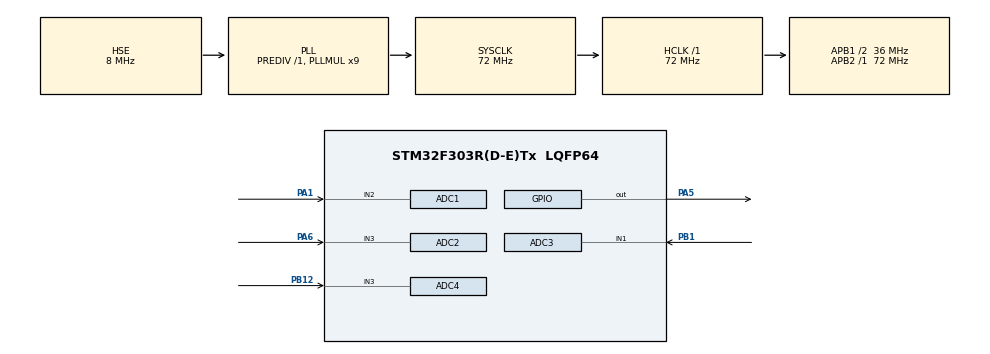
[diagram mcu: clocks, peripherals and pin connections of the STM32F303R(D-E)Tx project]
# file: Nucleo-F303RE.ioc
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ADC1.Channel-2\#ChannelRegularConversion=ADC_CHANNEL_2
ADC1.DMAContinuousRequests=ENABLE
ADC1.EnableInjectedConversion=DISABLE
ADC1.ExternalTrigConv=ADC_EXTERNALTRIGCONV_T1_TRGO
ADC1.NbrOfConversionFlag=1
ADC1.Offset-2\#ChannelRegularConversion=0
ADC1.OffsetNumber-2\#ChannelRegularConversion=ADC_OFFSET_NONE
ADC1.Rank-2\#ChannelRegularConversion=1
ADC1.SamplingTime-2\#ChannelRegularConversion=ADC_SAMPLETIME_2CYCLES_5
ADC1.SamplingTimeOPAMP-2\#ChannelRegularConversion=ADC_SAMPLETIME_61CYCLES_5
ADC1.master=1
ADC2.Channel-0\#ChannelRegularConversion=ADC_CHANNEL_3
ADC2.ClockPrescaler=ADC_CLOCK_ASYNC_DIV1
ADC2.DMAContinuousRequests=ENABLE
ADC2.EnableInjectedConversion=DISABLE
ADC2.ExternalTrigConv=ADC_EXTERNALTRIGCONV_T1_CC2
ADC2.NbrOfConversion=1
ADC2.NbrOfConversionFlag=1
ADC2.Offset-0\#ChannelRegularConversion=0
ADC2.OffsetNumber-0\#ChannelRegularConversion=ADC_OFFSET_NONE
ADC2.Rank-0\#ChannelRegularConversion=1
ADC2.SamplingTime-0\#ChannelRegularConversion=ADC_SAMPLETIME_2CYCLES_5
ADC3.Channel-0\#ChannelRegularConversion=ADC_CHANNEL_1
ADC3.ClockPrescaler=ADC_CLOCK_ASYNC_DIV1
ADC3.DMAContinuousRequests=ENABLE
ADC3.EnableInjectedConversion=DISABLE
ADC3.ExternalTrigConv=ADC_EXTERNALTRIGCONV_T1_CC3
ADC3.NbrOfConversionFlag=1
ADC3.Offset-0\#ChannelRegularConversion=0
ADC3.OffsetNumber-0\#ChannelRegularConversion=ADC_OFFSET_NONE
ADC3.Rank-0\#ChannelRegularConversion=1
ADC3.SamplingTime-0\#ChannelRegularConversion=ADC_SAMPLETIME_2CYCLES_5
ADC3.SamplingTimeOPAMP-0\#ChannelRegularConversion=ADC_SAMPLETIME_61CYCLES_5
ADC3.master=1
ADC4.Channel-0\#ChannelRegularConversion=ADC_CHANNEL_3
ADC4.DMAContinuousRequests=ENABLE
ADC4.EnableInjectedConversion=DISABLE
ADC4.ExternalTrigConv=ADC_EXTERNALTRIGCONV_T1_TRGO2
ADC4.NbrOfConversionFlag=1
ADC4.Offset-0\#ChannelRegularConversion=0
ADC4.OffsetNumber-0\#ChannelRegularConversion=ADC_OFFSET_NONE
ADC4.Rank-0\#ChannelRegularConversion=1
ADC4.SamplingTime-0\#ChannelRegularConversion=ADC_SAMPLETIME_2CYCLES_5
Dma.ADC1.3.Direction=DMA_PERIPH_TO_MEMORY
Dma.ADC1.3.Instance=DMA1_Channel1
Dma.ADC1.3.MemDataAlignment=DMA_MDATAALIGN_HALFWORD
Dma.ADC1.3.MemInc=DMA_MINC_ENABLE
Dma.ADC1.3.Mode=DMA_CIRCULAR
Dma.ADC1.3.PeriphDataAlignment=DMA_PDATAALIGN_HALFWORD
Dma.ADC1.3.PeriphInc=DMA_PINC_DISABLE
Dma.ADC1.3.Priority=DMA_PRIORITY_VERY_HIGH
Dma.ADC2.0.Direction=DMA_PERIPH_TO_MEMORY
Dma.ADC2.0.Instance=DMA2_Channel1
Dma.ADC2.0.MemDataAlignment=DMA_MDATAALIGN_HALFWORD
Dma.ADC2.0.MemInc=DMA_MINC_ENABLE
Dma.ADC2.0.Mode=DMA_CIRCULAR
Dma.ADC2.0.PeriphDataAlignment=DMA_PDATAALIGN_HALFWORD
Dma.ADC2.0.PeriphInc=DMA_PINC_DISABLE
Dma.ADC2.0.Priority=DMA_PRIORITY_VERY_HIGH
Dma.ADC3.1.Direction=DMA_PERIPH_TO_MEMORY
Dma.ADC3.1.Instance=DMA2_Channel5
Dma.ADC3.1.MemDataAlignment=DMA_MDATAALIGN_HALFWORD
Dma.ADC3.1.MemInc=DMA_MINC_ENABLE
Dma.ADC3.1.Mode=DMA_CIRCULAR
Dma.ADC3.1.PeriphDataAlignment=DMA_PDATAALIGN_HALFWORD
Dma.ADC3.1.PeriphInc=DMA_PINC_DISABLE
Dma.ADC3.1.Priority=DMA_PRIORITY_VERY_HIGH
Dma.ADC4.2.Direction=DMA_PERIPH_TO_MEMORY
Dma.ADC4.2.Instance=DMA2_Channel2
Dma.ADC4.2.MemDataAlignment=DMA_MDATAALIGN_HALFWORD
Dma.ADC4.2.MemInc=DMA_MINC_ENABLE
Dma.ADC4.2.Mode=DMA_CIRCULAR
Dma.ADC4.2.PeriphDataAlignment=DMA_PDATAALIGN_HALFWORD
Dma.ADC4.2.PeriphInc=DMA_PINC_DISABLE
Dma.ADC4.2.Priority=DMA_PRIORITY_VERY_HIGH
Dma.Request0=ADC2
Dma.Request1=ADC3
Dma.Request2=ADC4
Dma.Request3=ADC1
Mcu.Family=STM32F3
Mcu.Name=STM32F303R(D-E)Tx
Mcu.Package=LQFP64
NVIC.DMA1_Channel1_IRQn=true\:0\:0\:false\:false\:true\:false\:true\:true
NVIC.DMA2_Channel1_IRQn=true\:0\:0\:false\:false\:true\:false\:true\:true
NVIC.DMA2_Channel2_IRQn=true\:0\:0\:false\:false\:true\:false\:true\:true
NVIC.DMA2_Channel5_IRQn=true\:0\:0\:false\:false\:true\:false\:true\:true
NVIC.PriorityGroup=NVIC_PRIORITYGROUP_4
PA1.Mode=IN2-Single-Ended
PA1.Signal=ADC1_IN2
PA5.GPIO_Speed=GPIO_SPEED_FREQ_HIGH
PA5.Signal=GPIO_Output
PA6.Mode=IN3-Single-Ended
PA6.Signal=ADC2_IN3
PB1.Mode=IN1-Single-Ended
PB1.Signal=ADC3_IN1
PB12.Mode=IN3-Single-Ended
PB12.Signal=ADC4_IN3
PF0-OSC_IN.Mode=HSE-External-Oscillator
PF0-OSC_IN.Signal=RCC_OSC_IN
PF1-OSC_OUT.Mode=HSE-External-Oscillator
PF1-OSC_OUT.Signal=RCC_OSC_OUT
ProjectManager.HeapSize=0x200
ProjectManager.StackSize=0x400
ProjectManager.TargetToolchain=CMake
RCC.AHBFreq_Value=72000000
RCC.APB1CLKDivider=RCC_HCLK_DIV2
RCC.APB1Freq_Value=36000000
RCC.APB1TimFreq_Value=72000000
RCC.APB2Freq_Value=72000000
RCC.APB2TimFreq_Value=72000000
RCC.CortexFreq_Value=72000000
RCC.HCLKFreq_Value=72000000
RCC.HSE_VALUE=8000000
RCC.HSI_VALUE=8000000
RCC.LSE_VALUE=32768
RCC.PLLMUL=RCC_PLL_MUL9
RCC.PLLSourceVirtual=RCC_PLLSOURCE_HSE
RCC.SYSCLKFreq_VALUE=72000000
RCC.SYSCLKSourceVirtual=RCC_SYSCLKSOURCE_PLLCLK
RCC.TIM1Selection=RCC_TIM1CLK_PLLCLK
RCC.USBFreq_Value=72000000
TIM1.AutoReloadPreload=TIM_AUTORELOAD_PRELOAD_ENABLE
TIM1.Channel-PWM\ Generation2\ No\ Output=TIM_CHANNEL_2
TIM1.Channel-PWM\ Generation3\ No\ Output=TIM_CHANNEL_3
TIM1.Channel-PWM\ Generation4\ No\ Output=TIM_CHANNEL_4
TIM1.OCMode_PWM-PWM\ Generation2\ No\ Output=TIM_OCMODE_PWM2
TIM1.OCMode_PWM-PWM\ Generation3\ No\ Output=TIM_OCMODE_PWM2
TIM1.OCMode_PWM-PWM\ Generation4\ No\ Output=TIM_OCMODE_PWM2
TIM1.Period=31
TIM1.Pulse-PWM\ Generation2\ No\ Output=8
TIM1.Pulse-PWM\ Generation3\ No\ Output=16
TIM1.Pulse-PWM\ Generation4\ No\ Output=24
TIM1.TIM_MasterOutputTrigger=TIM_TRGO_UPDATE
TIM1.TIM_MasterOutputTrigger2=TIM_TRGO2_OC4REF
VP_TIM1_VS_ClockSourceINT.Mode=Internal
VP_TIM1_VS_no_output2.Mode=PWM Generation2 No Output
VP_TIM1_VS_no_output3.Mode=PWM Generation3 No Output
VP_TIM1_VS_no_output4.Mode=PWM Generation4 No Output
board=custom

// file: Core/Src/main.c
/* USER CODE BEGIN Header */
/**
  ******************************************************************************
  * @file           : main.c
  * @brief          : Main program body
  ******************************************************************************
  * @attention
  *
  * Copyright (c) 2026 STMicroelectronics.
  * All rights reserved.
  *
  * This software is licensed under terms that can be found in the LICENSE file
  * in the root directory of this software component.
  * If no LICENSE file comes with this software, it is provided AS-IS.
  *
  ******************************************************************************
  */
/* USER CODE END Header */
#include "main.h"

ADC_HandleTypeDef hadc1;
ADC_HandleTypeDef hadc2;
ADC_HandleTypeDef hadc3;
ADC_HandleTypeDef hadc4;
DMA_HandleTypeDef hdma_adc1;
DMA_HandleTypeDef hdma_adc2;
DMA_HandleTypeDef hdma_adc3;
DMA_HandleTypeDef hdma_adc4;

TIM_HandleTypeDef htim1;

/* USER CODE BEGIN PV */
#define BUFFER_SIZE 1000
#define TOTAL_SAMPLES (BUFFER_SIZE * 4)

uint16_t adc1_buf[BUFFER_SIZE];
uint16_t adc2_buf[BUFFER_SIZE];
uint16_t adc3_buf[BUFFER_SIZE];
uint16_t adc4_buf[BUFFER_SIZE];

uint16_t interleaved_buffer[TOTAL_SAMPLES];

volatile uint8_t dma_half_ready = 0;
volatile uint8_t dma_full_ready = 0;

// Diferencias medidas respecto al ADC1
int16_t offset_adc2 = 0;
int16_t offset_adc4 = 0;
int16_t offset_adc3 = 0;

//int16_t offset_adc2 = -57;  // 1117 - 1174
//int16_t offset_adc4 = -73;  // 1117 - 1190
//int16_t offset_adc3 = -69;  // 1117 - 1186
/* USER CODE END PV */

void SystemClock_Config(void);
static void MX_GPIO_Init(void);
static void MX_DMA_Init(void);
static void MX_ADC1_Init(void);
static void MX_ADC2_Init(void);
static void MX_ADC3_Init(void);
static void MX_ADC4_Init(void);
static void MX_TIM1_Init(void);

int main(void)
{

  /* MCU Configuration--------------------------------------------------------*/

  /* Reset of all peripherals, Initializes the Flash interface and the Systick. */
  HAL_Init();

  /* Configure the system clock */
  SystemClock_Config();

  /* Initialize all configured peripherals */
  MX_GPIO_Init();
  MX_DMA_Init();
  MX_ADC1_Init();
  MX_ADC2_Init();
  MX_ADC3_Init();
  MX_ADC4_Init();
  MX_TIM1_Init();
  /* USER CODE BEGIN 2 */

  /* 0. Calibrate ADCs */
  HAL_ADCEx_Calibration_Start(&hadc1, ADC_SINGLE_ENDED);
  HAL_ADCEx_Calibration_Start(&hadc2, ADC_SINGLE_ENDED);
  HAL_ADCEx_Calibration_Start(&hadc3, ADC_SINGLE_ENDED);
  HAL_ADCEx_Calibration_Start(&hadc4, ADC_SINGLE_ENDED);

  /* 1. Enable PWM pins silently (DO NOT start the Timer clock yet!) */
  TIM_CCxChannelCmd(htim1.Instance, TIM_CHANNEL_2, TIM_CCx_ENABLE);
  TIM_CCxChannelCmd(htim1.Instance, TIM_CHANNEL_3, TIM_CCx_ENABLE);
  TIM_CCxChannelCmd(htim1.Instance, TIM_CHANNEL_4, TIM_CCx_ENABLE);
  __HAL_TIM_MOE_ENABLE(&htim1);

  /* 2. Clear flags to avoid ghost triggers */
  htim1.Instance->EGR = TIM_EGR_UG;
  __HAL_TIM_CLEAR_FLAG(&htim1, TIM_FLAG_UPDATE);

  /* 3. Arm ADCs. They will wait synchronously for the first clock tick */
  HAL_ADC_Start_DMA(&hadc1, (uint32_t*)adc1_buf, BUFFER_SIZE);
  HAL_ADC_Start_DMA(&hadc2, (uint32_t*)adc2_buf, BUFFER_SIZE);
  HAL_ADC_Start_DMA(&hadc3, (uint32_t*)adc3_buf, BUFFER_SIZE);
  HAL_ADC_Start_DMA(&hadc4, (uint32_t*)adc4_buf, BUFFER_SIZE);

  /* 4. FIRE! Start the master clock */
  __HAL_TIM_ENABLE(&htim1);

  /* USER CODE END 2 */

  /* Infinite loop */
  /* USER CODE BEGIN WHILE */
  while (1)
  {
    if (dma_half_ready)
    {
        dma_half_ready = 0;
        Interleave_Data(0, BUFFER_SIZE / 2);
    }

    if (dma_full_ready)
    {
        dma_full_ready = 0;
        Interleave_Data(BUFFER_SIZE / 2, BUFFER_SIZE);

        __NOP();

        /* Your interleaved_buffer is completely updated here. */
        /* You can pass it to your Edge AI processing pipeline. */
    }
    /* USER CODE END WHILE */

  }
}

void SystemClock_Config(void)
{
  RCC_OscInitTypeDef RCC_OscInitStruct = {0};
  RCC_ClkInitTypeDef RCC_ClkInitStruct = {0};
  RCC_PeriphCLKInitTypeDef PeriphClkInit = {0};

  /** Initializes the RCC Oscillators according to the specified parameters
  * in the RCC_OscInitTypeDef structure.
  */
  RCC_OscInitStruct.OscillatorType = RCC_OSCILLATORTYPE_HSE;
  RCC_OscInitStruct.HSEState = RCC_HSE_ON;
  RCC_OscInitStruct.HSIState = RCC_HSI_ON;
  RCC_OscInitStruct.PLL.PLLState = RCC_PLL_ON;
  RCC_OscInitStruct.PLL.PLLSource = RCC_PLLSOURCE_HSE;
  RCC_OscInitStruct.PLL.PLLMUL = RCC_PLL_MUL9;
  RCC_OscInitStruct.PLL.PREDIV = RCC_PREDIV_DIV1;
  if (HAL_RCC_OscConfig(&RCC_OscInitStruct) != HAL_OK)
  {
    Error_Handler();
  }

  /** Initializes the CPU, AHB and APB buses clocks
  */
  RCC_ClkInitStruct.ClockType = RCC_CLOCKTYPE_HCLK|RCC_CLOCKTYPE_SYSCLK
                              |RCC_CLOCKTYPE_PCLK1|RCC_CLOCKTYPE_PCLK2;
  RCC_ClkInitStruct.SYSCLKSource = RCC_SYSCLKSOURCE_PLLCLK;
  RCC_ClkInitStruct.AHBCLKDivider = RCC_SYSCLK_DIV1;
  RCC_ClkInitStruct.APB1CLKDivider = RCC_HCLK_DIV2;
  RCC_ClkInitStruct.APB2CLKDivider = RCC_HCLK_DIV1;

  if (HAL_RCC_ClockConfig(&RCC_ClkInitStruct, FLASH_LATENCY_2) != HAL_OK)
  {
    Error_Handler();
  }
  PeriphClkInit.PeriphClockSelection = RCC_PERIPHCLK_TIM1|RCC_PERIPHCLK_ADC12
                              |RCC_PERIPHCLK_ADC34;
  PeriphClkInit.Adc12ClockSelection = RCC_ADC12PLLCLK_DIV1;
  PeriphClkInit.Adc34ClockSelection = RCC_ADC34PLLCLK_DIV1;
  PeriphClkInit.Tim1ClockSelection = RCC_TIM1CLK_PLLCLK;
  if (HAL_RCCEx_PeriphCLKConfig(&PeriphClkInit) != HAL_OK)
  {
    Error_Handler();
  }
}

static void MX_ADC1_Init(void)
{

  ADC_MultiModeTypeDef multimode = {0};
  ADC_ChannelConfTypeDef sConfig = {0};

  /** Common config
  */
  hadc1.Instance = ADC1;
  hadc1.Init.ClockPrescaler = ADC_CLOCK_ASYNC_DIV1;
  hadc1.Init.Resolution = ADC_RESOLUTION_12B;
  hadc1.Init.ScanConvMode = ADC_SCAN_DISABLE;
  hadc1.Init.ContinuousConvMode = DISABLE;
  hadc1.Init.DiscontinuousConvMode = DISABLE;
  hadc1.Init.ExternalTrigConvEdge = ADC_EXTERNALTRIGCONVEDGE_RISING;
  hadc1.Init.ExternalTrigConv = ADC_EXTERNALTRIGCONV_T1_TRGO;
  hadc1.Init.DataAlign = ADC_DATAALIGN_RIGHT;
  hadc1.Init.NbrOfConversion = 1;
  hadc1.Init.DMAContinuousRequests = ENABLE;
  hadc1.Init.EOCSelection = ADC_EOC_SINGLE_CONV;
  hadc1.Init.LowPowerAutoWait = DISABLE;
  hadc1.Init.Overrun = ADC_OVR_DATA_OVERWRITTEN;
  if (HAL_ADC_Init(&hadc1) != HAL_OK)
  {
    Error_Handler();
  }

  /** Configure the ADC multi-mode
  */
  multimode.Mode = ADC_MODE_INDEPENDENT;
  if (HAL_ADCEx_MultiModeConfigChannel(&hadc1, &multimode) != HAL_OK)
  {
    Error_Handler();
  }

  /** Configure Regular Channel
  */
  sConfig.Channel = ADC_CHANNEL_2;
  sConfig.Rank = ADC_REGULAR_RANK_1;
  sConfig.SingleDiff = ADC_SINGLE_ENDED;
  sConfig.SamplingTime = ADC_SAMPLETIME_2CYCLES_5;
  sConfig.OffsetNumber = ADC_OFFSET_NONE;
  sConfig.Offset = 0;
  if (HAL_ADC_ConfigChannel(&hadc1, &sConfig) != HAL_OK)
  {
    Error_Handler();
  }

}

static void MX_ADC2_Init(void)
{

  ADC_ChannelConfTypeDef sConfig = {0};

  /** Common config
  */
  hadc2.Instance = ADC2;
  hadc2.Init.ClockPrescaler = ADC_CLOCK_ASYNC_DIV1;
  hadc2.Init.Resolution = ADC_RESOLUTION_12B;
  hadc2.Init.ScanConvMode = ADC_SCAN_DISABLE;
  hadc2.Init.ContinuousConvMode = DISABLE;
  hadc2.Init.DiscontinuousConvMode = DISABLE;
  hadc2.Init.ExternalTrigConvEdge = ADC_EXTERNALTRIGCONVEDGE_RISING;
  hadc2.Init.ExternalTrigConv = ADC_EXTERNALTRIGCONV_T1_CC2;
  hadc2.Init.DataAlign = ADC_DATAALIGN_RIGHT;
  hadc2.Init.NbrOfConversion = 1;
  hadc2.Init.DMAContinuousRequests = ENABLE;
  hadc2.Init.EOCSelection = ADC_EOC_SINGLE_CONV;
  hadc2.Init.LowPowerAutoWait = DISABLE;
  hadc2.Init.Overrun = ADC_OVR_DATA_OVERWRITTEN;
  if (HAL_ADC_Init(&hadc2) != HAL_OK)
  {
    Error_Handler();
  }

  /** Configure Regular Channel
  */
  sConfig.Channel = ADC_CHANNEL_3;
  sConfig.Rank = ADC_REGULAR_RANK_1;
  sConfig.SingleDiff = ADC_SINGLE_ENDED;
  sConfig.SamplingTime = ADC_SAMPLETIME_2CYCLES_5;
  sConfig.OffsetNumber = ADC_OFFSET_NONE;
  sConfig.Offset = 0;
  if (HAL_ADC_ConfigChannel(&hadc2, &sConfig) != HAL_OK)
  {
    Error_Handler();
  }

}

static void MX_ADC3_Init(void)
{

  ADC_MultiModeTypeDef multimode = {0};
  ADC_ChannelConfTypeDef sConfig = {0};

  /** Common config
  */
  hadc3.Instance = ADC3;
  hadc3.Init.ClockPrescaler = ADC_CLOCK_ASYNC_DIV1;
  hadc3.Init.Resolution = ADC_RESOLUTION_12B;
  hadc3.Init.ScanConvMode = ADC_SCAN_DISABLE;
  hadc3.Init.ContinuousConvMode = DISABLE;
  hadc3.Init.DiscontinuousConvMode = DISABLE;
  hadc3.Init.ExternalTrigConvEdge = ADC_EXTERNALTRIGCONVEDGE_RISING;
  hadc3.Init.ExternalTrigConv = ADC_EXTERNALTRIGCONV_T1_CC3;
  hadc3.Init.DataAlign = ADC_DATAALIGN_RIGHT;
  hadc3.Init.NbrOfConversion = 1;
  hadc3.Init.DMAContinuousRequests = ENABLE;
  hadc3.Init.EOCSelection = ADC_EOC_SINGLE_CONV;
  hadc3.Init.LowPowerAutoWait = DISABLE;
  hadc3.Init.Overrun = ADC_OVR_DATA_OVERWRITTEN;
  if (HAL_ADC_Init(&hadc3) != HAL_OK)
  {
    Error_Handler();
  }

  /** Configure the ADC multi-mode
  */
  multimode.Mode = ADC_MODE_INDEPENDENT;
  if (HAL_ADCEx_MultiModeConfigChannel(&hadc3, &multimode) != HAL_OK)
  {
    Error_Handler();
  }

  /** Configure Regular Channel
  */
  sConfig.Channel = ADC_CHANNEL_1;
  sConfig.Rank = ADC_REGULAR_RANK_1;
  sConfig.SingleDiff = ADC_SINGLE_ENDED;
  sConfig.SamplingTime = ADC_SAMPLETIME_2CYCLES_5;
  sConfig.OffsetNumber = ADC_OFFSET_NONE;
  sConfig.Offset = 0;
  if (HAL_ADC_ConfigChannel(&hadc3, &sConfig) != HAL_OK)
  {
    Error_Handler();
  }

}

static void MX_ADC4_Init(void)
{

  ADC_ChannelConfTypeDef sConfig = {0};

  /** Common config
  */
  hadc4.Instance = ADC4;
  hadc4.Init.ClockPrescaler = ADC_CLOCK_ASYNC_DIV1;
  hadc4.Init.Resolution = ADC_RESOLUTION_12B;
  hadc4.Init.ScanConvMode = ADC_SCAN_DISABLE;
  hadc4.Init.ContinuousConvMode = DISABLE;
  hadc4.Init.DiscontinuousConvMode = DISABLE;
  hadc4.Init.ExternalTrigConvEdge = ADC_EXTERNALTRIGCONVEDGE_RISING;
  hadc4.Init.ExternalTrigConv = ADC_EXTERNALTRIGCONV_T1_TRGO2;
  hadc4.Init.DataAlign = ADC_DATAALIGN_RIGHT;
  hadc4.Init.NbrOfConversion = 1;
  hadc4.Init.DMAContinuousRequests = ENABLE;
  hadc4.Init.EOCSelection = ADC_EOC_SINGLE_CONV;
  hadc4.Init.LowPowerAutoWait = DISABLE;
  hadc4.Init.Overrun = ADC_OVR_DATA_OVERWRITTEN;
  if (HAL_ADC_Init(&hadc4) != HAL_OK)
  {
    Error_Handler();
  }

  /** Configure Regular Channel
  */
  sConfig.Channel = ADC_CHANNEL_3;
  sConfig.Rank = ADC_REGULAR_RANK_1;
  sConfig.SingleDiff = ADC_SINGLE_ENDED;
  sConfig.SamplingTime = ADC_SAMPLETIME_2CYCLES_5;
  sConfig.OffsetNumber = ADC_OFFSET_NONE;
  sConfig.Offset = 0;
  if (HAL_ADC_ConfigChannel(&hadc4, &sConfig) != HAL_OK)
  {
    Error_Handler();
  }

}

static void MX_TIM1_Init(void)
{

  TIM_ClockConfigTypeDef sClockSourceConfig = {0};
  TIM_MasterConfigTypeDef sMasterConfig = {0};
  TIM_OC_InitTypeDef sConfigOC = {0};
  TIM_BreakDeadTimeConfigTypeDef sBreakDeadTimeConfig = {0};

  htim1.Instance = TIM1;
  htim1.Init.Prescaler = 0;
  htim1.Init.CounterMode = TIM_COUNTERMODE_UP;
  htim1.Init.Period = 31;
  htim1.Init.ClockDivision = TIM_CLOCKDIVISION_DIV1;
  htim1.Init.RepetitionCounter = 0;
  htim1.Init.AutoReloadPreload = TIM_AUTORELOAD_PRELOAD_ENABLE;
  if (HAL_TIM_Base_Init(&htim1) != HAL_OK)
  {
    Error_Handler();
  }
  sClockSourceConfig.ClockSource = TIM_CLOCKSOURCE_INTERNAL;
  if (HAL_TIM_ConfigClockSource(&htim1, &sClockSourceConfig) != HAL_OK)
  {
    Error_Handler();
  }
  if (HAL_TIM_PWM_Init(&htim1) != HAL_OK)
  {
    Error_Handler();
  }
  sMasterConfig.MasterOutputTrigger = TIM_TRGO_UPDATE;
  sMasterConfig.MasterOutputTrigger2 = TIM_TRGO2_OC4REF;
  sMasterConfig.MasterSlaveMode = TIM_MASTERSLAVEMODE_DISABLE;
  if (HAL_TIMEx_MasterConfigSynchronization(&htim1, &sMasterConfig) != HAL_OK)
  {
    Error_Handler();
  }
  sConfigOC.OCMode = TIM_OCMODE_PWM2;
  sConfigOC.Pulse = 8;
  sConfigOC.OCPolarity = TIM_OCPOLARITY_HIGH;
  sConfigOC.OCNPolarity = TIM_OCNPOLARITY_HIGH;
  sConfigOC.OCFastMode = TIM_OCFAST_DISABLE;
  sConfigOC.OCIdleState = TIM_OCIDLESTATE_RESET;
  sConfigOC.OCNIdleState = TIM_OCNIDLESTATE_RESET;
  if (HAL_TIM_PWM_ConfigChannel(&htim1, &sConfigOC, TIM_CHANNEL_2) != HAL_OK)
  {
    Error_Handler();
  }
  sConfigOC.Pulse = 16;
  if (HAL_TIM_PWM_ConfigChannel(&htim1, &sConfigOC, TIM_CHANNEL_3) != HAL_OK)
  {
    Error_Handler();
  }
  sConfigOC.Pulse = 24;
  if (HAL_TIM_PWM_ConfigChannel(&htim1, &sConfigOC, TIM_CHANNEL_4) != HAL_OK)
  {
    Error_Handler();
  }
  sBreakDeadTimeConfig.OffStateRunMode = TIM_OSSR_DISABLE;
  sBreakDeadTimeConfig.OffStateIDLEMode = TIM_OSSI_DISABLE;
  sBreakDeadTimeConfig.LockLevel = TIM_LOCKLEVEL_OFF;
  sBreakDeadTimeConfig.DeadTime = 0;
  sBreakDeadTimeConfig.BreakState = TIM_BREAK_DISABLE;
  sBreakDeadTimeConfig.BreakPolarity = TIM_BREAKPOLARITY_HIGH;
  sBreakDeadTimeConfig.BreakFilter = 0;
  sBreakDeadTimeConfig.Break2State = TIM_BREAK2_DISABLE;
  sBreakDeadTimeConfig.Break2Polarity = TIM_BREAK2POLARITY_HIGH;
  sBreakDeadTimeConfig.Break2Filter = 0;
  sBreakDeadTimeConfig.AutomaticOutput = TIM_AUTOMATICOUTPUT_DISABLE;
  if (HAL_TIMEx_ConfigBreakDeadTime(&htim1, &sBreakDeadTimeConfig) != HAL_OK)
  {
    Error_Handler();
  }

}

static void MX_DMA_Init(void)
{

  /* DMA controller clock enable */
  __HAL_RCC_DMA2_CLK_ENABLE();
  __HAL_RCC_DMA1_CLK_ENABLE();

  /* DMA interrupt init */
  /* DMA1_Channel1_IRQn interrupt configuration */
  HAL_NVIC_SetPriority(DMA1_Channel1_IRQn, 0, 0);
  HAL_NVIC_EnableIRQ(DMA1_Channel1_IRQn);
  /* DMA2_Channel1_IRQn interrupt configuration */
  HAL_NVIC_SetPriority(DMA2_Channel1_IRQn, 0, 0);
  HAL_NVIC_EnableIRQ(DMA2_Channel1_IRQn);
  /* DMA2_Channel2_IRQn interrupt configuration */
  HAL_NVIC_SetPriority(DMA2_Channel2_IRQn, 0, 0);
  HAL_NVIC_EnableIRQ(DMA2_Channel2_IRQn);
  /* DMA2_Channel5_IRQn interrupt configuration */
  HAL_NVIC_SetPriority(DMA2_Channel5_IRQn, 0, 0);
  HAL_NVIC_EnableIRQ(DMA2_Channel5_IRQn);

}

static void MX_GPIO_Init(void)
{
  GPIO_InitTypeDef GPIO_InitStruct = {0};

  /* GPIO Ports Clock Enable */
  __HAL_RCC_GPIOF_CLK_ENABLE();
  __HAL_RCC_GPIOA_CLK_ENABLE();
  __HAL_RCC_GPIOB_CLK_ENABLE();

  /*Configure GPIO pin Output Level */
  HAL_GPIO_WritePin(GPIOA, GPIO_PIN_5, GPIO_PIN_RESET);

  /*Configure GPIO pin : PA5 */
  GPIO_InitStruct.Pin = GPIO_PIN_5;
  GPIO_InitStruct.Mode = GPIO_MODE_OUTPUT_PP;
  GPIO_InitStruct.Pull = GPIO_NOPULL;
  GPIO_InitStruct.Speed = GPIO_SPEED_FREQ_HIGH;
  HAL_GPIO_Init(GPIOA, &GPIO_InitStruct);

}

/* USER CODE BEGIN 4 */

void HAL_ADC_ConvHalfCpltCallback(ADC_HandleTypeDef* hadc)
{
    if (hadc->Instance == ADC1)
    {
        dma_half_ready = 1;
    }
}

void HAL_ADC_ConvCpltCallback(ADC_HandleTypeDef* hadc)
{
    if (hadc->Instance == ADC1)
    {
        HAL_GPIO_TogglePin(GPIOA, GPIO_PIN_5);
        dma_full_ready = 1;
    }
}

/* Updated to process only the half of the buffer that is ready */
void Interleave_Data(uint32_t start_idx, uint32_t end_idx)
{
    int32_t val;
    for (uint32_t i = start_idx; i < end_idx; i++)
    {
        // 1. Sample at t = 16 ticks (ADC2)
        val = (int32_t)adc2_buf[i] + offset_adc2;
        interleaved_buffer[i * 4] = (uint16_t)(val < 0 ? 0 : (val > 4095 ? 4095 : val));

        // 2. Sample at t = 32 ticks (ADC3)
        val = (int32_t)adc3_buf[i] + offset_adc3;
        interleaved_buffer[i * 4 + 1] = (uint16_t)(val < 0 ? 0 : (val > 4095 ? 4095 : val));

        // 3. Sample at t = 48 ticks (ADC4)
        val = (int32_t)adc4_buf[i] + offset_adc4;
        interleaved_buffer[i * 4 + 2] = (uint16_t)(val < 0 ? 0 : (val > 4095 ? 4095 : val));

        // 4. Sample at t = 64 ticks (ADC1)
        interleaved_buffer[i * 4 + 3] = adc1_buf[i];
    }
}
/* USER CODE END 4 */

void Error_Handler(void)
{
  __disable_irq();
  while (1)
  {
  }
}
